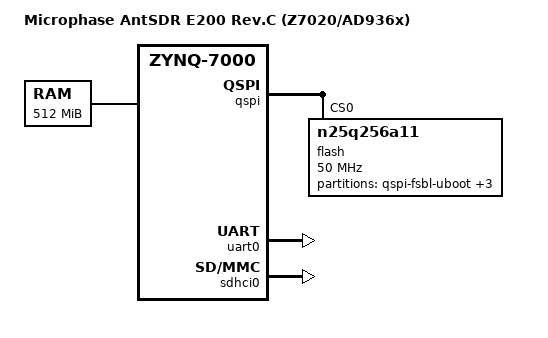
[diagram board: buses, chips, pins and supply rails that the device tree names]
/*
 * SPDX-License-Identifier:	GPL-2.0+
 */
/dts-v1/;
#include "zynq-7000.dtsi"

/ {
	model = "Microphase AntSDR E200 Rev.C (Z7020/AD936x)";
	compatible = "microphase,e200revc", "xlnx,zynq-7000";

	memory {
		device_type = "memory";
		reg = <0x00000000 0x20000000>;
	};

	chosen {
		linux,stdout-path = &uart0;
		stdout-path = &uart0;
	};
};

&qspi {
	status = "okay";
	is-dual = <0>;
	num-cs = <1>;
	flash@0 {
		compatible = "n25q256a11,";
		reg = <0x0>;
		spi-tx-bus-width = <1>;
		spi-rx-bus-width = <4>;
		spi-max-frequency = <50000000>;
		#address-cells = <1>;
		#size-cells = <1>;
		partition@qspi-fsbl-uboot {
			label = "qspi-fsbl-uboot";
			reg = <0x0 0x100000>; /* 1M */
		};
		partition@qspi-uboot-env {
			label = "qspi-uboot-env";
			reg = <0x100000 0x20000>; /* 128k */
		};
		partition@qspi-nvmfs {
			label = "qspi-nvmfs";
			reg = <0x120000 0xE0000>; /* 1M */
		};
		partition@qspi-linux {
			label = "qspi-linux";
			reg = <0x200000 0x1E00000>; /* 30M */
		};
	};
};

&uart0 {
	status = "okay";
};

&sdhci0 {
	u-boot,dm-pre-reloc;
	status = "okay";
};
